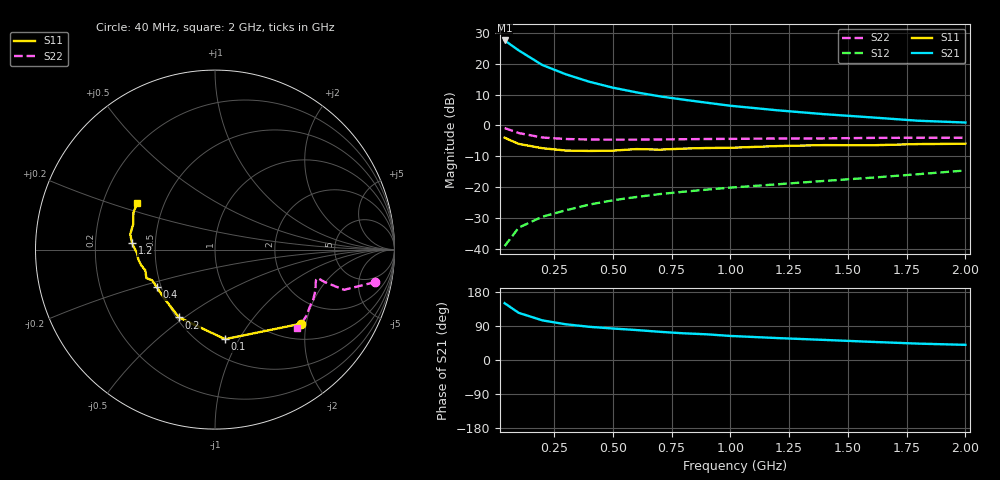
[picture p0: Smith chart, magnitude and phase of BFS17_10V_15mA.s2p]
! Filename:  BFS17I.S2P  Version:  2.0
! Philips part #: BFS17  Date: Jun 1990
! Bias condition: Vce=10V, Ic=15mA
#  MHz  S  MA  R  50
! Freq  S11  S21  S12  S22  !GUM [dB]
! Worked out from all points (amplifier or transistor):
!   16 points, 40 MHz to 2 GHz, reference 50 ohm
!   highest |S21| = 27.6 dB at 40 MHz (marker M1)
!   |S21| within 3 dB of that: start of sweep to 95.8 MHz
!   unconditionally stable (mu >= 1): 388 MHz to 1.644 GHz
!   at 200 MHz: K = 0.79, MSG = 24.6 dB, |S12| = -29.6 dB
!   at 800 MHz: K = 1.10, MAG = 13.0 dB, |S12| = -21.5 dB
!   at 2 GHz: K = 0.87, MSG = 7.8 dB, |S12| = -14.6 dB
!   S11 on the Smith chart (normalised r, x): 40 MHz: 1.36, -1.87; 100 MHz: 0.66, -0.88; 200 MHz: 0.52, -0.48; 400 MHz: 0.47, -0.23; 1.2 GHz: 0.37, +0.03; 2 GHz: 0.35, +0.24
40  0.632 -40.8  23.95 149.9  0.011 70.8  0.909 -11.5
100  0.502 -83.6  16.52 124.4  0.022 61.3  0.753 -17.3
200  0.428 -117.9  9.591 104.7  0.033 59.9  0.638 -16.5
300  0.392 -136.5  6.778 94.3  0.042 62.5  0.603 -15.7
400  0.386 -147.1  5.124 87.6  0.052 64.8  0.592 -15.6
500  0.39 -154.0  4.11 83.1  0.061 66.2  0.588 -16.5
600  0.414 -157.4  3.45 79.1  0.069 66.1  0.589 -17.5
700  0.405 -163.4  2.967 74.4  0.077 66.8  0.593 -19.0
800  0.421 -168.2  2.625 70.5  0.084 67.7  0.598 -20.3
900  0.431 -172.7  2.339 67.8  0.091 69.8  0.603 -21.9
1000  0.434 -177.1  2.089 63.5  0.098 69.8  0.606 -23.3
1200  0.463 175.7  1.763 57.9  0.111 72.4  0.614 -27.0
1400  0.48 169.7  1.524 53.0  0.126 75.0  0.617 -31.2
1600  0.477 162.9  1.352 47.9  0.142 78.0  0.628 -35.3
1800  0.499 155.6  1.193 43.2  0.162 80.6  0.633 -39.6
2000  0.505 149.2  1.116 40.0  0.186 81.8  0.633 -43.9
